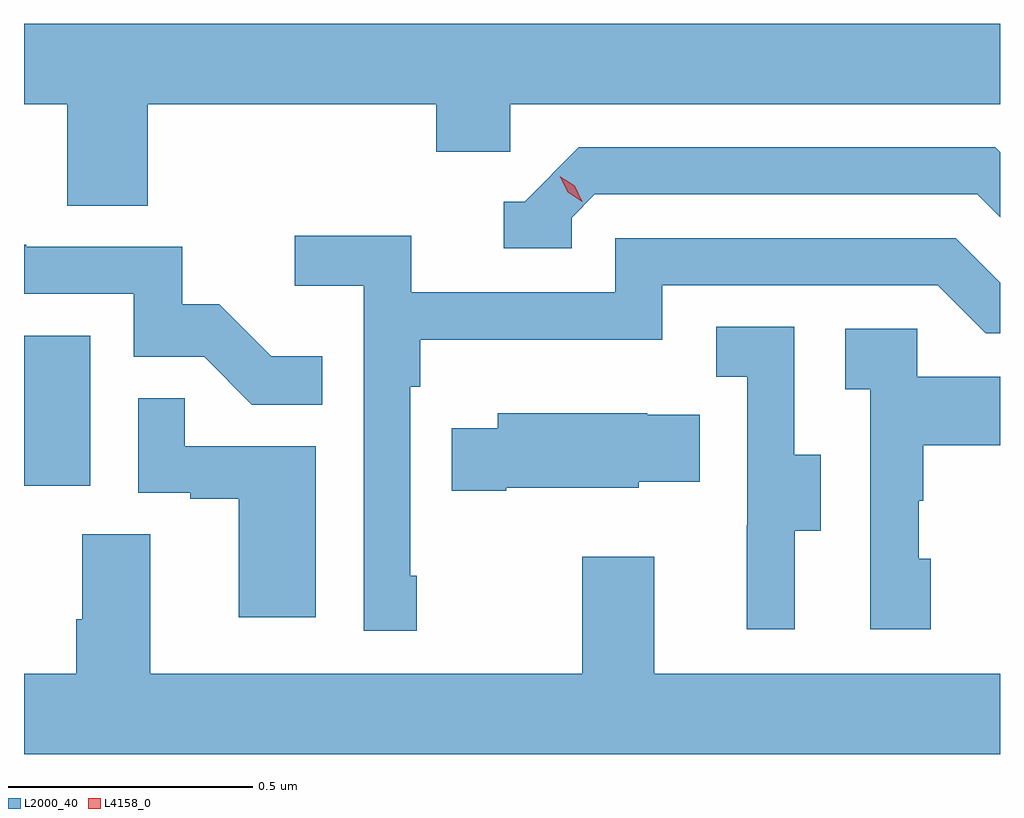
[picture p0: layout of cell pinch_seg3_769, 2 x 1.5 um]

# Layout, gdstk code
import gdstk
lib = gdstk.Library(unit=1e-6, precision=1e-09)
def R(c, l, rs):  # rectangles x0, y0, x1, y1
    for r in rs: c.add(gdstk.rectangle(r[:2], r[2:], *l))
def P(c, l, *ps):  # polygons
    for p in ps: c.add(gdstk.Polygon(p, *l))
L2000_40 = (2000, 40)
L4158_0 = (4158, 0)

pinch_seg3_769 = lib.new_cell('pinch_seg3_769')
R(pinch_seg3_769, L2000_40, [(831.57,732.102,831.706,732.409)])
P(pinch_seg3_769, L2000_40, [(831.824,732.884),(832.415,732.884),(832.415,732.786),(832.566,732.786),(832.566,732.884),(833.57,732.884),(833.57,733.048),(831.57,733.048),(831.57,732.884),(831.659,732.884),(831.659,732.676),(831.824,732.676)],
  [(832.692,732.651),(832.74,732.699),(833.523,732.699),(833.57,732.652),(833.57,732.785),(833.56,732.795),(832.707,732.795),(832.596,732.684),(832.553,732.684),(832.553,732.588),(832.692,732.588)],
  [(832.375,731.917),(832.362,731.917),(832.362,732.305),(832.382,732.305),(832.382,732.401),(832.878,732.401),(832.878,732.513),(833.442,732.513),(833.541,732.414),(833.57,732.414),(833.57,732.518),(833.479,732.609),(832.782,732.609),(832.782,732.498),(832.364,732.498),(832.364,732.614),(832.125,732.614),(832.125,732.512),(832.266,732.512),(832.266,731.805),(832.375,731.805)],
  [(832.181,732.367),(832.077,732.367),(831.97,732.474),(831.894,732.474),(831.894,732.591),(831.575,732.591),(831.575,732.596),(831.57,732.596),(831.57,732.495),(831.795,732.495),(831.795,732.366),(831.939,732.366),(832.037,732.268),(832.181,732.268)],
  [(833.149,732.01),(833.203,732.01),(833.203,732.165),(833.148,732.165),(833.148,732.428),(832.989,732.428),(832.989,732.325),(833.052,732.325),(833.052,732.021),(833.051,732.021),(833.051,731.808),(833.149,731.808)],
  [(833.428,731.952),(833.403,731.952),(833.403,732.071),(833.413,732.071),(833.413,732.185),(833.57,732.185),(833.57,732.325),(833.4,732.325),(833.4,732.423),(833.253,732.423),(833.253,732.299),(833.304,732.299),(833.304,731.808),(833.428,731.808)],
  [(832.168,732.183),(831.899,732.183),(831.899,732.281),(831.804,732.281),(831.804,732.087),(831.911,732.087),(831.911,732.075),(832.01,732.075),(832.01,731.832),(832.168,731.832)],
  [(832.558,732.098),(832.83,732.098),(832.83,732.11),(832.955,732.11),(832.955,732.247),(832.847,732.247),(832.847,732.25),(832.541,732.25),(832.541,732.22),(832.447,732.22),(832.447,732.091),(832.558,732.091)],
  [(833.57,731.716),(832.861,731.716),(832.861,731.956),(832.714,731.956),(832.714,731.716),(831.829,731.716),(831.829,732.002),(831.689,732.002),(831.689,731.828),(831.677,731.828),(831.677,731.716),(831.57,731.716),(831.57,731.552),(833.57,731.552)])
P(pinch_seg3_769, L4158_0, [(832.714,732.684),(832.684,732.703),(832.668,732.736),(832.668,732.736),(832.668,732.736),(832.699,732.716),(832.714,732.684),(832.714,732.684)])

lib.write_gds('pinch_seg3_769.gds')
